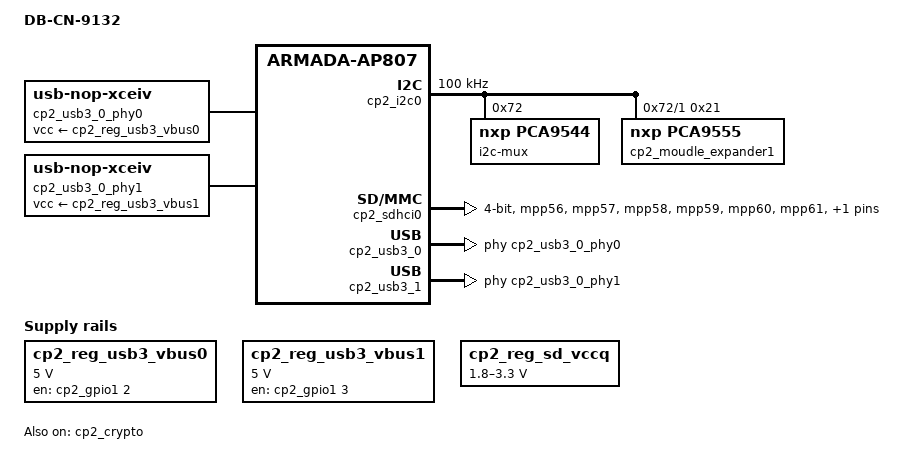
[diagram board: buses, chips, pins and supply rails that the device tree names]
/*
 * copyright (c) 2019 marvell international ltd.
 *
 * spdx-license-identifier:    gpl-2.0
 * https://spdx.org/licenses
 */

#undef CP110_NUM
#undef CP110_NAME
#undef CP110_BASE
#undef CP110_PCIE0_BASE
#undef CP110_PCIE1_BASE
#undef CP110_PCIE2_BASE
#undef CP110_PCIEx_CPU_MEM_BASE
#undef CP110_PCIEx_MEM_BASE

/* CP110-1 Settings */
#define CP110_NAME                       cp2
#define CP110_NUM                        2
#define CP110_BASE                       f6000000
#define CP110_PCIE0_BASE                 f6600000
#define CP110_PCIE1_BASE                 f6620000
#define CP110_PCIE2_BASE                 f6640000
#define CP110_PCIEx_CPU_MEM_BASE(iface)  (0xe5000000 + (iface) * 0x1000000)
#define CP110_PCIEx_MEM_BASE(iface)      (CP110_PCIEx_CPU_MEM_BASE(iface))

#include "armada-cp110.dtsi"

/ {
        model = "DB-CN-9132";
        compatible = "marvell,cn9132", "marvell,armada-ap807-quad",
                     "marvell,armada-ap807";

        cp2_reg_usb3_vbus0: cp2_usb3_vbus@0 {
                compatible = "regulator-fixed";
                regulator-name = "cp2-xhci0-vbus";
                regulator-min-microvolt = <5000000>;
                regulator-max-microvolt = <5000000>;
                enable-active-high;
                gpio = <&cp2_gpio1 2 GPIO_ACTIVE_HIGH>;
        };

        cp2_usb3_0_phy0: cp2_usb3_phy0 {
                compatible = "usb-nop-xceiv";
                vcc-supply = <&cp2_reg_usb3_vbus0>;
        };

        cp2_reg_usb3_vbus1: cp2_usb3_vbus@1 {
                compatible = "regulator-fixed";
                regulator-name = "cp2-xhci1-vbus";
                regulator-min-microvolt = <5000000>;
                regulator-max-microvolt = <5000000>;
                enable-active-high;
                gpio = <&cp2_gpio1 3 GPIO_ACTIVE_HIGH>;
        };

        cp2_usb3_0_phy1: cp2_usb3_phy1 {
                compatible = "usb-nop-xceiv";
                vcc-supply = <&cp2_reg_usb3_vbus1>;
        };

        cp2_reg_sd_vccq: cp2_sd_vccq@0 {
                compatible = "regulator-gpio";
                regulator-name = "cp2_sd_vcc";
                regulator-min-microvolt = <1800000>;
                regulator-max-microvolt = <3300000>;
                gpios = <&cp2_gpio2 17 GPIO_ACTIVE_HIGH>;
                states = <1800000 0x1 3300000 0x0>;
        };

        cp2_sfp_eth0: sfp-eth0 {
                compatible = "sff,sfp";
                i2c-bus = <&cp2_sfpp0_i2c>;
                los-gpio = <&cp2_moudle_expander1 11 GPIO_ACTIVE_HIGH>;
                mod-def0-gpio = <&cp2_moudle_expander1 10 GPIO_ACTIVE_LOW>;
                tx-disable-gpio = <&cp2_moudle_expander1 9 GPIO_ACTIVE_HIGH>;
                tx-fault-gpio = <&cp2_moudle_expander1 8 GPIO_ACTIVE_HIGH>;
                status = "disabled";
        };
};

&cp2_crypto {
        status = "okay";
};

&cp2_gpio1 {
        status = "okay";
};

&cp2_gpio2 {
        status = "okay";
};

&cp2_i2c0 {
        clock-frequency = <100000>;

        /* SLM-1521-V2 - U3 */
        i2c-mux@72 {
                compatible = "nxp,pca9544";
                #address-cells = <1>;
                #size-cells = <0>;
                reg = <0x72>;
                cp2_sfpp0_i2c: i2c@0 {
                        #address-cells = <1>;
                        #size-cells = <0>;
                        reg = <0>;
                };

                i2c@1 {
                        #address-cells = <1>;
                        #size-cells = <0>;
                        reg = <1>;
                        /* U12 */
                        cp2_moudle_expander1: pca9555@21 {
                                compatible = "nxp,pca9555";
                                pinctrl-names = "default";
                                gpio-controller;
                                #gpio-cells = <2>;
                                reg = <0x21>;
                        };
                };
        };
};

&cp2_sdhci0 {
        pinctrl-names = "default";
        pinctrl-0 = <&cp2_sdhci_pins>;
        bus-width = <4>;
        cd-gpios = <&cp2_gpio2 23 GPIO_ACTIVE_LOW>;
        vqmmc-supply = <&cp2_reg_sd_vccq>;
};

&cp2_syscon0 {
        cp2_pinctrl: pinctrl {
                compatible = "marvell,armada-7k-pinctrl";

                cp2_i2c0_pins: cp2-i2c-pins-0 {
                        marvell,pins = "mpp37", "mpp38";
                        marvell,function = "i2c0";
                };
                cp2_sdhci_pins: cp2-sdhi-pins-0 {
                        marvell,pins = "mpp56", "mpp57", "mpp58",
                                       "mpp59", "mpp60", "mpp61";
                        marvell,function = "sdio";
                };
        };
};

&cp2_usb3_0 {
        status = "okay";
        usb-phy = <&cp2_usb3_0_phy0>;
        phy-names = "usb";
};

&cp2_usb3_1 {
        status = "okay";
        usb-phy = <&cp2_usb3_0_phy1>;
        phy-names = "usb";
};
